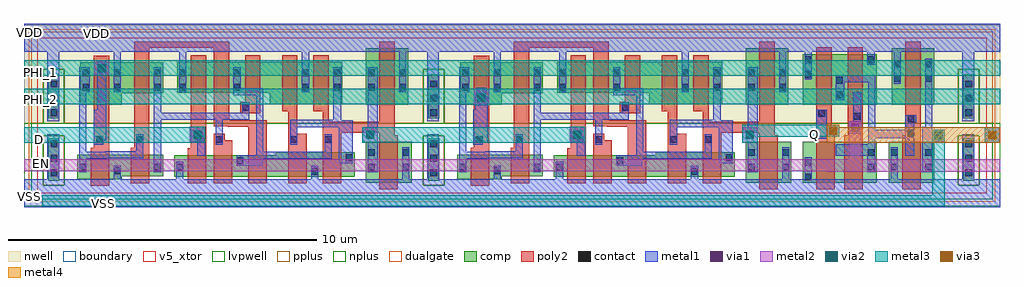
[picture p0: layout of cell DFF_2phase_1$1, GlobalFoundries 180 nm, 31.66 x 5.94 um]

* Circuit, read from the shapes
.subckt DFF_2phase_1$1 D EN PHI_1 PHI_2 Q VDD VSS gated_control
XM1 VSS PHI_1 n1 VSS nfet_05v0 w=0.79u l=0.6u
XM2 n2 n1 VSS VSS nfet_05v0 w=0.7u l=0.6u
XM3 n3 D VSS VSS nfet_05v0 w=0.7u l=0.6u
XM4 n4 n2 n3 VSS nfet_05v0 w=0.7u l=0.6u
XM5 n5 n1 n4 VSS nfet_05v0 w=0.7u l=0.6u
XM6 VSS n6 n5 VSS nfet_05v0 w=0.79u l=0.6u
XM7 n6 n4 VSS VSS nfet_05v0 w=0.79u l=0.6u
XM8 VSS n4 gf180mcu_fd_sc_mcu9t5v0__latq_1_17/D VSS nfet_05v0 w=1.32u l=0.6u
XM9 VSS PHI_2 n7 VSS nfet_05v0 w=0.79u l=0.6u
XM10 n8 n7 VSS VSS nfet_05v0 w=0.7u l=0.6u
XM11 n9 gf180mcu_fd_sc_mcu9t5v0__latq_1_17/D VSS VSS nfet_05v0 w=0.7u l=0.6u
XM12 n10 n8 n9 VSS nfet_05v0 w=0.7u l=0.6u
XM13 n11 n7 n10 VSS nfet_05v0 w=0.7u l=0.6u
XM14 VSS n12 n11 VSS nfet_05v0 w=0.79u l=0.6u
XM15 n12 n10 VSS VSS nfet_05v0 w=0.79u l=0.6u
XM16 VSS n10 Q VSS nfet_05v0 w=1.32u l=0.6u
XM17 n13 Q VSS VSS nfet_05v0 w=1.32u l=0.6u
XM18 gf180mcu_fd_sc_mcu9t5v0__inv_1_15/I EN n13 VSS nfet_05v0 w=1.32u l=0.6u
XM19 gated_control gf180mcu_fd_sc_mcu9t5v0__inv_1_15/I VSS VSS nfet_05v0 w=1.32u l=0.6u
XM20 VDD PHI_1 n1 VDD pfet_05v0 w=1.38u l=0.5u
XM21 n2 n1 VDD VDD pfet_05v0 w=1u l=0.5u
XM22 n14 D VDD VDD pfet_05v0 w=1u l=0.5u
XM23 n4 n1 n14 VDD pfet_05v0 w=1u l=0.5u
XM24 n15 n2 n4 VDD pfet_05v0 w=1u l=0.5u
XM25 VDD n6 n15 VDD pfet_05v0 w=1.38u l=0.5u
XM26 n6 n4 VDD VDD pfet_05v0 w=1.38u l=0.5u
XM27 VDD n4 gf180mcu_fd_sc_mcu9t5v0__latq_1_17/D VDD pfet_05v0 w=1.83u l=0.5u
XM28 VDD PHI_2 n7 VDD pfet_05v0 w=1.38u l=0.5u
XM29 n8 n7 VDD VDD pfet_05v0 w=1u l=0.5u
XM30 n16 gf180mcu_fd_sc_mcu9t5v0__latq_1_17/D VDD VDD pfet_05v0 w=1u l=0.5u
XM31 n10 n7 n16 VDD pfet_05v0 w=1u l=0.5u
XM32 n17 n8 n10 VDD pfet_05v0 w=1u l=0.5u
XM33 VDD n12 n17 VDD pfet_05v0 w=1.38u l=0.5u
XM34 n12 n10 VDD VDD pfet_05v0 w=1.38u l=0.5u
XM35 VDD n10 Q VDD pfet_05v0 w=1.83u l=0.5u
XM36 gf180mcu_fd_sc_mcu9t5v0__inv_1_15/I Q VDD VDD pfet_05v0 w=1.645u l=0.5u
XM37 VDD EN gf180mcu_fd_sc_mcu9t5v0__inv_1_15/I VDD pfet_05v0 w=1.645u l=0.5u
XM38 gated_control gf180mcu_fd_sc_mcu9t5v0__inv_1_15/I VDD VDD pfet_05v0 w=1.83u l=0.5u
.ends

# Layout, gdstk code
import gdstk
lib = gdstk.Library(unit=1e-6, precision=1e-09)
def R(c, l, rs):  # rectangles x0, y0, x1, y1
    for r in rs: c.add(gdstk.rectangle(r[:2], r[2:], *l))
def A(c, l, x, y, w, h, nx, ny, dx, dy):  # array of equal rectangles
    R(c, l, [(x+i*dx, y+j*dy, x+i*dx+w, y+j*dy+h) for i in range(nx) for j in range(ny)])
def P(c, l, *ps):  # polygons
    for p in ps: c.add(gdstk.Polygon(p, *l))
boundary = (0, 0)
nwell = (21, 0)
comp = (22, 0)
poly2 = (30, 0)
pplus = (31, 0)
nplus = (32, 0)
contact = (33, 0)
metal1 = (34, 0)
via1 = (35, 0)
metal2 = (36, 0)
via2 = (38, 0)
via3 = (40, 0)
metal3 = (42, 0)
metal4 = (46, 0)
dualgate = (55, 0)
v5_xtor = (112, 1)
lvpwell = (204, 0)

gf180mcu_fd_sc_mcu9t5v0_ = lib.new_cell('gf180mcu_fd_sc_mcu9t5v0__filltie')
R(gf180mcu_fd_sc_mcu9t5v0_, boundary, [(0,0,1.12,5.04)])
R(gf180mcu_fd_sc_mcu9t5v0_, nwell, [(-0.43,2.265,1.55,5.47)])
R(gf180mcu_fd_sc_mcu9t5v0_, comp, [(0.36,0.41,0.72,1.785), (0.36,2.425,0.72,3.855)])
R(gf180mcu_fd_sc_mcu9t5v0_, pplus, [(0.2,0.25,0.88,1.865)])
P(gf180mcu_fd_sc_mcu9t5v0_, pplus, [(-0.2,2.265),(-0.2,5.24),(1.32,5.24),(1.32,2.265),(0.88,2.265),(0.88,4.015),(0.2,4.015),(0.2,2.265)])
P(gf180mcu_fd_sc_mcu9t5v0_, nplus, [(-0.2,-0.2),(-0.2,2.265),(0.2,2.265),(0.2,4.015),(0.88,4.015),(0.88,1.865),(0.2,1.865),(0.2,0.25),(0.88,0.25),(0.88,4.015),(0.88,2.265),(1.32,2.265),(1.32,-0.2)])
A(gf180mcu_fd_sc_mcu9t5v0_, contact, 0.43, 0.555, 0.22, 0.22, 1, 3, 0, 0.47)
A(gf180mcu_fd_sc_mcu9t5v0_, contact, 0.43, 2.495, 0.22, 0.22, 1, 3, 0, 0.47)
P(gf180mcu_fd_sc_mcu9t5v0_, metal1, [(0,-0.45),(0,0.45),(0.33,0.45),(0.33,1.91),(0.71,1.91),(0.71,0.45),(1.12,0.45),(1.12,-0.45)],
  [(0.33,2.34),(0.33,4.59),(0,4.59),(0,5.49),(1.12,5.49),(1.12,4.59),(0.71,4.59),(0.71,2.34)])
R(gf180mcu_fd_sc_mcu9t5v0_, dualgate, [(-0.28,-0.28,1.4,5.32)])
R(gf180mcu_fd_sc_mcu9t5v0_, v5_xtor, [(0,0,1.12,5.04)])
R(gf180mcu_fd_sc_mcu9t5v0_, lvpwell, [(-0.43,-0.43,1.55,2.265)])
gf180mcu_fd_sc_mcu9t5v0_.add(gdstk.Label('VSS', (0.56,-0.45), layer=34, texttype=10))
gf180mcu_fd_sc_mcu9t5v0_.add(gdstk.Label('VDD', (0.56,5.49), layer=34, texttype=10))
gf180mcu_fd_sc_mcu9t5v0_.add(gdstk.Label('& Vendor GLOBALFOUNDRIES', (0,2), layer=63, texttype=63))
gf180mcu_fd_sc_mcu9t5v0_.add(gdstk.Label('& Product GF018hv5v_green_sc9', (0,1.5), layer=63, texttype=63))
gf180mcu_fd_sc_mcu9t5v0_.add(gdstk.Label('& Version 2015q2v2', (0,1), layer=63, texttype=63))
gf180mcu_fd_sc_mcu9t5v0_.add(gdstk.Label('& Metric 1.00', (0,0.5), layer=63, texttype=63))

c_gf180mcu_fd_sc_mcu9t5v0_ = lib.new_cell('gf180mcu_fd_sc_mcu9t5v0__latq_1')
R(c_gf180mcu_fd_sc_mcu9t5v0_, boundary, [(0,0,11.2,5.04)])
R(c_gf180mcu_fd_sc_mcu9t5v0_, nwell, [(-0.43,2.265,11.63,5.47)])
R(c_gf180mcu_fd_sc_mcu9t5v0_, comp, [(9.54,0.345,11.02,1.665), (9.54,2.865,10.92,4.695)])
P(c_gf180mcu_fd_sc_mcu9t5v0_, comp, [(0.18,0.46),(0.18,1.25),(2.96,1.25),(2.96,0.55),(1.62,0.55),(1.62,0.46)],
  [(0.28,2.865),(0.28,4.245),(2.96,4.245),(2.96,3.245),(1.62,3.245),(1.62,2.865)],
  [(6.42,2.88),(6.42,3.26),(3.42,3.26),(3.42,4.26),(8.78,4.26),(8.78,2.88)],
  [(3.32,0.535),(3.32,1.235),(6.62,1.235),(6.62,1.325),(9.18,1.325),(9.18,0.535)])
P(c_gf180mcu_fd_sc_mcu9t5v0_, poly2, [(0.62,0.24),(0.62,1.47),(0.72,1.47),(0.72,4.465),(1.22,4.465),(1.22,0.24)],
  [(3.76,0.315),(3.76,1.455),(3.86,1.455),(3.86,4.48),(4.36,4.48),(4.36,0.315)],
  [(4.6,0.315),(4.6,1.925),(4.96,1.925),(4.96,1.715),(5.2,1.715),(5.2,0.315)],
  [(5.46,2.6),(5.46,2.96),(5.62,2.96),(5.62,4.48),(6.12,4.48),(6.12,3.04),(6.115,3.04),(6.115,2.6)],
  [(5.72,0.315),(5.72,2.16),(5.055,2.16),(5.055,2.165),(4.6,2.165),(4.6,4.72),(2.52,4.72),(2.52,0.33),(1.92,0.33),(1.92,1.47),(2.02,1.47),(2.02,4.92),(5.1,4.92),(5.1,2.36),(6.32,2.36),(6.32,0.315)],
  [(7.02,0.315),(7.02,2.66),(6.82,2.66),(6.82,4.48),(7.32,4.48),(7.32,1.925),(7.62,1.925),(7.62,0.315)],
  [(9.98,0.125),(9.98,1.965),(8.74,1.965),(8.74,0.315),(8.14,0.315),(8.14,2.66),(7.84,2.66),(7.84,4.48),(8.34,4.48),(8.34,2.325),(9.98,2.325),(9.98,4.915),(10.48,4.915),(10.48,1.885),(10.58,1.885),(10.58,0.125)])
R(c_gf180mcu_fd_sc_mcu9t5v0_, pplus, [(-0.2,2.265,11.4,5.24)])
R(c_gf180mcu_fd_sc_mcu9t5v0_, nplus, [(-0.2,-0.2,11.4,2.265)])
R(c_gf180mcu_fd_sc_mcu9t5v0_, contact, [(7.77,0.605,7.99,0.825), (1.37,0.615,1.59,0.835), (0.25,0.74,0.47,0.96), (2.67,0.74,2.89,0.96), (3.39,0.74,3.61,0.96), (9.61,0.74,9.83,0.96), (10.73,0.74,10.95,0.96), (5.35,0.945,5.57,1.165), (8.89,1.035,9.11,1.255), (9.61,1.21,9.83,1.43), (10.73,1.21,10.95,1.43), (0.79,1.635,1.01,1.855), (2.09,1.635,2.31,1.855), (4.07,1.635,4.29,1.855), (4.67,1.635,4.89,1.855), (7.09,1.635,7.31,1.855), (8.21,1.635,8.43,1.855), (5.53,2.67,5.75,2.89), (0.35,3.33,0.57,3.55), (1.37,3.33,1.59,3.55), (2.67,3.33,2.89,3.55), (3.49,3.33,3.71,3.55), (5.25,3.33,5.47,3.55), (7.47,3.33,7.69,3.55), (8.49,3.33,8.71,3.55), (9.61,3.33,9.83,3.55), (10.63,3.33,10.85,3.55), (0.35,3.8,0.57,4.02), (1.37,3.8,1.59,4.02), (2.67,3.8,2.89,4.02), (3.49,3.8,3.71,4.02), (5.25,3.8,5.47,4.02), (7.47,3.8,7.69,4.02), (8.49,3.8,8.71,4.02), (9.61,3.8,9.83,4.02), (10.63,3.8,10.85,4.02)])
R(c_gf180mcu_fd_sc_mcu9t5v0_, metal1, [(9.605,0.68,9.93,4.08), (4.065,1.21,4.33,2.15), (0.71,1.575,1.015,2.71)])
P(c_gf180mcu_fd_sc_mcu9t5v0_, metal1, [(0.245,0.68),(0.245,4.08),(0.575,4.08),(0.575,3.27),(0.475,3.27),(0.475,1.345),(1.085,1.345),(1.085,1.355),(2.085,1.355),(2.085,1.915),(2.315,1.915),(2.315,1.125),(1.155,1.125),(1.155,1.115),(0.475,1.115),(0.475,0.68)],
  [(2.665,0.68),(2.665,4.08),(2.895,4.08),(2.895,2.61),(5.525,2.61),(5.525,2.95),(5.755,2.95),(5.755,2.38),(4.895,2.38),(4.895,1.575),(4.665,1.575),(4.665,2.38),(2.895,2.38),(2.895,0.68)],
  [(5.345,0.885),(5.345,1.225),(5.985,1.225),(5.985,3.18),(5.245,3.18),(5.245,4.08),(5.475,4.08),(5.475,3.41),(6.215,3.41),(6.215,1.345),(8.205,1.345),(8.205,1.915),(8.435,1.915),(8.435,1.115),(6.19,1.115),(6.19,0.885)],
  [(8.665,0.975),(8.665,2.145),(7.315,2.145),(7.315,1.575),(7.085,1.575),(7.085,2.375),(8.485,2.375),(8.485,4.08),(8.735,4.08),(8.735,2.365),(9.115,2.365),(9.115,0.975)],
  [(0,-0.45),(0,0.45),(1.365,0.45),(1.365,0.895),(1.595,0.895),(1.595,0.45),(3.385,0.45),(3.385,1.02),(3.615,1.02),(3.615,0.45),(7.765,0.45),(7.765,0.885),(7.995,0.885),(7.995,0.45),(10.725,0.45),(10.725,1.49),(10.955,1.49),(10.955,0.45),(11.2,0.45),(11.2,-0.45)],
  [(1.365,3.27),(1.365,4.59),(0,4.59),(0,5.49),(11.2,5.49),(11.2,4.59),(10.855,4.59),(10.855,3.27),(10.625,3.27),(10.625,4.59),(7.695,4.59),(7.695,3.27),(7.465,3.27),(7.465,4.59),(3.715,4.59),(3.715,3.27),(3.485,3.27),(3.485,4.59),(1.595,4.59),(1.595,3.27)])
R(c_gf180mcu_fd_sc_mcu9t5v0_, dualgate, [(-0.28,-0.28,11.48,5.32)])
R(c_gf180mcu_fd_sc_mcu9t5v0_, v5_xtor, [(0,0,11.2,5.04)])
R(c_gf180mcu_fd_sc_mcu9t5v0_, lvpwell, [(-0.43,-0.43,11.63,2.265)])
c_gf180mcu_fd_sc_mcu9t5v0_.add(gdstk.Label('D', (4.2,1.4), layer=34, texttype=10))
c_gf180mcu_fd_sc_mcu9t5v0_.add(gdstk.Label('E', (0.84,1.96), layer=34, texttype=10))
c_gf180mcu_fd_sc_mcu9t5v0_.add(gdstk.Label('Q', (9.8,2.52), layer=34, texttype=10))
c_gf180mcu_fd_sc_mcu9t5v0_.add(gdstk.Label('VDD', (5.6,5.49), layer=34, texttype=10))
c_gf180mcu_fd_sc_mcu9t5v0_.add(gdstk.Label('VSS', (5.6,-0.45), layer=34, texttype=10))
c_gf180mcu_fd_sc_mcu9t5v0_.add(gdstk.Label('& Vendor GLOBALFOUNDRIES', (0,2), layer=63, texttype=63))
c_gf180mcu_fd_sc_mcu9t5v0_.add(gdstk.Label('& Product GF018hv5v_green_sc9', (0,1.5), layer=63, texttype=63))
c_gf180mcu_fd_sc_mcu9t5v0_.add(gdstk.Label('& Version 2015q2v2', (0,1), layer=63, texttype=63))
c_gf180mcu_fd_sc_mcu9t5v0_.add(gdstk.Label('& Metric 1.00', (0,0.5), layer=63, texttype=63))
c_gf180mcu_fd_sc_mcu9t5v0_.add(gdstk.Label('VNW', (0.345,3.92), layer=21, texttype=10))
c_gf180mcu_fd_sc_mcu9t5v0_.add(gdstk.Label('VPW', (0.34,-0.085), layer=204, texttype=10))

via_dev = lib.new_cell('via_dev')
R(via_dev, metal1, [(0,0,0.5,0.5)])
R(via_dev, via1, [(0.12,0.12,0.38,0.38)])
R(via_dev, metal2, [(0,0,0.5,0.5)])

via_dev_1 = lib.new_cell('via_dev$1')
R(via_dev_1, metal2, [(0,0,0.5,0.5)])
R(via_dev_1, via2, [(0.12,0.12,0.38,0.38)])
R(via_dev_1, metal3, [(0,0,0.5,0.5)])

c_gf180mcu_fd_sc_mcu9t5v0__ = lib.new_cell('gf180mcu_fd_sc_mcu9t5v0__nand2_1')
R(c_gf180mcu_fd_sc_mcu9t5v0__, boundary, [(0,0,2.8,5.04)])
R(c_gf180mcu_fd_sc_mcu9t5v0__, nwell, [(-0.43,2.265,3.23,5.47)])
R(c_gf180mcu_fd_sc_mcu9t5v0__, comp, [(0.185,0.345,2.585,1.665), (0.185,2.865,2.585,4.51)])
P(c_gf180mcu_fd_sc_mcu9t5v0__, poly2, [(0.625,0.125),(0.625,4.73),(1.125,4.73),(1.125,1.885),(1.225,1.885),(1.225,0.125)],
  [(1.545,0.125),(1.545,1.885),(1.645,1.885),(1.645,4.73),(2.145,4.73),(2.145,0.125)])
R(c_gf180mcu_fd_sc_mcu9t5v0__, pplus, [(-0.2,2.265,3,5.24)])
R(c_gf180mcu_fd_sc_mcu9t5v0__, nplus, [(-0.2,-0.2,3,2.265)])
R(c_gf180mcu_fd_sc_mcu9t5v0__, contact, [(0.255,0.415,0.475,0.635), (2.295,0.74,2.515,0.96), (0.255,0.885,0.475,1.105), (2.295,1.21,2.515,1.43), (1.835,2.39,2.055,2.61), (0.695,2.475,0.915,2.695), (1.275,3.08,1.495,3.3), (1.275,3.55,1.495,3.77), (0.255,3.75,0.475,3.97), (0.255,4.22,0.475,4.44), (2.295,4.22,2.515,4.44)])
R(c_gf180mcu_fd_sc_mcu9t5v0__, metal1, [(0.635,1.77,0.975,2.71), (1.83,2.33,2.09,3.27)])
P(c_gf180mcu_fd_sc_mcu9t5v0__, metal1, [(2.29,0.68),(2.29,1.21),(1.27,1.21),(1.27,1.59),(2.32,1.59),(2.32,3.6),(1.53,3.6),(1.53,3.02),(1.27,3.02),(1.27,3.83),(2.55,3.83),(2.55,0.68)],
  [(0,-0.45),(0,0.45),(0.25,0.45),(0.25,1.165),(0.48,1.165),(0.48,0.45),(2.8,0.45),(2.8,-0.45)],
  [(0.25,3.69),(0.25,4.59),(0,4.59),(0,5.49),(2.8,5.49),(2.8,4.59),(2.52,4.59),(2.52,4.16),(2.29,4.16),(2.29,4.59),(0.48,4.59),(0.48,3.69)])
R(c_gf180mcu_fd_sc_mcu9t5v0__, dualgate, [(-0.28,-0.28,3.08,5.32)])
R(c_gf180mcu_fd_sc_mcu9t5v0__, v5_xtor, [(0,0,2.8,5.04)])
R(c_gf180mcu_fd_sc_mcu9t5v0__, lvpwell, [(-0.43,-0.43,3.23,2.265)])
c_gf180mcu_fd_sc_mcu9t5v0__.add(gdstk.Label('A1', (1.96,2.52), layer=34, texttype=10))
c_gf180mcu_fd_sc_mcu9t5v0__.add(gdstk.Label('A2', (0.84,1.96), layer=34, texttype=10))
c_gf180mcu_fd_sc_mcu9t5v0__.add(gdstk.Label('VDD', (1.4,5.49), layer=34, texttype=10))
c_gf180mcu_fd_sc_mcu9t5v0__.add(gdstk.Label('VSS', (1.4,-0.45), layer=34, texttype=10))
c_gf180mcu_fd_sc_mcu9t5v0__.add(gdstk.Label('ZN', (1.96,1.4), layer=34, texttype=10))
c_gf180mcu_fd_sc_mcu9t5v0__.add(gdstk.Label('& Vendor GLOBALFOUNDRIES', (0,2), layer=63, texttype=63))
c_gf180mcu_fd_sc_mcu9t5v0__.add(gdstk.Label('& Product GF018hv5v_green_sc9', (0,1.5), layer=63, texttype=63))
c_gf180mcu_fd_sc_mcu9t5v0__.add(gdstk.Label('& Version 2015q2v2', (0,1), layer=63, texttype=63))
c_gf180mcu_fd_sc_mcu9t5v0__.add(gdstk.Label('& Metric 1.00', (0,0.5), layer=63, texttype=63))
c_gf180mcu_fd_sc_mcu9t5v0__.add(gdstk.Label('VNW', (0.345,3.92), layer=21, texttype=10))
c_gf180mcu_fd_sc_mcu9t5v0__.add(gdstk.Label('VPW', (0.34,-0.085), layer=204, texttype=10))

c_gf180mcu_fd_sc_mcu9t5v0___ = lib.new_cell('gf180mcu_fd_sc_mcu9t5v0__inv_1')
R(c_gf180mcu_fd_sc_mcu9t5v0___, boundary, [(0,0,2.24,5.04)])
R(c_gf180mcu_fd_sc_mcu9t5v0___, nwell, [(-0.43,2.265,2.67,5.47)])
R(c_gf180mcu_fd_sc_mcu9t5v0___, comp, [(0.18,0.345,1.66,1.665), (0.28,2.865,1.66,4.695)])
P(c_gf180mcu_fd_sc_mcu9t5v0___, poly2, [(0.62,0.125),(0.62,1.885),(0.72,1.885),(0.72,4.915),(1.22,4.915),(1.22,0.125)])
R(c_gf180mcu_fd_sc_mcu9t5v0___, pplus, [(-0.2,2.265,2.44,5.24)])
R(c_gf180mcu_fd_sc_mcu9t5v0___, nplus, [(-0.2,-0.2,2.44,2.265)])
R(c_gf180mcu_fd_sc_mcu9t5v0___, contact, [(0.25,0.74,0.47,0.96), (1.37,0.74,1.59,0.96), (0.25,1.21,0.47,1.43), (1.37,1.21,1.59,1.43), (0.79,1.835,1.01,2.055), (0.79,2.305,1.01,2.525), (0.35,3.61,0.57,3.83), (1.37,3.61,1.59,3.83), (0.35,4.08,0.57,4.3), (1.37,4.08,1.59,4.3)])
P(c_gf180mcu_fd_sc_mcu9t5v0___, metal1, [(0.71,1.21),(0.71,2.53),(1.07,2.53),(1.07,2.3),(1.015,2.3),(1.015,1.21)],
  [(1.27,0.68),(1.27,2.15),(1.365,2.15),(1.365,4.36),(1.595,4.36),(1.595,0.68)],
  [(0,-0.45),(0,0.45),(0.245,0.45),(0.245,1.49),(0.475,1.49),(0.475,0.45),(2.24,0.45),(2.24,-0.45)],
  [(0.345,3.55),(0.345,4.59),(0,4.59),(0,5.49),(2.24,5.49),(2.24,4.59),(0.575,4.59),(0.575,3.55)])
R(c_gf180mcu_fd_sc_mcu9t5v0___, dualgate, [(-0.28,-0.28,2.52,5.32)])
R(c_gf180mcu_fd_sc_mcu9t5v0___, v5_xtor, [(0,0,2.24,5.04)])
R(c_gf180mcu_fd_sc_mcu9t5v0___, lvpwell, [(-0.43,-0.43,2.67,2.265)])
c_gf180mcu_fd_sc_mcu9t5v0___.add(gdstk.Label('I', (0.84,1.96), layer=34, texttype=10))
c_gf180mcu_fd_sc_mcu9t5v0___.add(gdstk.Label('VDD', (1.12,5.49), layer=34, texttype=10))
c_gf180mcu_fd_sc_mcu9t5v0___.add(gdstk.Label('VSS', (1.12,-0.45), layer=34, texttype=10))
c_gf180mcu_fd_sc_mcu9t5v0___.add(gdstk.Label('ZN', (1.4,1.96), layer=34, texttype=10))
c_gf180mcu_fd_sc_mcu9t5v0___.add(gdstk.Label('& Vendor GLOBALFOUNDRIES', (0,2), layer=63, texttype=63))
c_gf180mcu_fd_sc_mcu9t5v0___.add(gdstk.Label('& Product GF018hv5v_green_sc9', (0,1.5), layer=63, texttype=63))
c_gf180mcu_fd_sc_mcu9t5v0___.add(gdstk.Label('& Version 2015q2v2', (0,1), layer=63, texttype=63))
c_gf180mcu_fd_sc_mcu9t5v0___.add(gdstk.Label('& Metric 1.00', (0,0.5), layer=63, texttype=63))
c_gf180mcu_fd_sc_mcu9t5v0___.add(gdstk.Label('VNW', (0.345,3.92), layer=21, texttype=10))
c_gf180mcu_fd_sc_mcu9t5v0___.add(gdstk.Label('VPW', (0.34,-0.085), layer=204, texttype=10))

via_dev_2 = lib.new_cell('via_dev$2')
R(via_dev_2, metal1, [(0,0,0.4,0.4)])
R(via_dev_2, via1, [(0.07,0.07,0.33,0.33)])
R(via_dev_2, metal2, [(0,0,0.4,0.4)])

via_dev_3 = lib.new_cell('via_dev$3')
R(via_dev_3, metal1, [(0,0,0.4,0.4)])
R(via_dev_3, via1, [(0.07,0.07,0.33,0.33)])
R(via_dev_3, metal2, [(0,0,0.4,0.4)])
R(via_dev_3, via2, [(0.07,0.07,0.33,0.33)])
R(via_dev_3, metal3, [(0,0,0.4,0.4)])

via_dev_4 = lib.new_cell('via_dev$4')
R(via_dev_4, metal1, [(0,0,0.4,0.4)])
R(via_dev_4, via1, [(0.07,0.07,0.33,0.33)])
R(via_dev_4, metal2, [(0,0,0.4,0.4)])
R(via_dev_4, via2, [(0.07,0.07,0.33,0.33)])
R(via_dev_4, via3, [(0.07,0.07,0.33,0.33)])
R(via_dev_4, metal3, [(0,0,0.4,0.4)])
R(via_dev_4, metal4, [(0,0,0.4,0.4)])

via_dev_5 = lib.new_cell('via_dev$5')
R(via_dev_5, metal1, [(0,0,0.5,0.5)])
R(via_dev_5, via1, [(0.12,0.12,0.38,0.38)])
R(via_dev_5, metal2, [(0,0,0.5,0.5)])
R(via_dev_5, via2, [(0.12,0.12,0.38,0.38)])
R(via_dev_5, via3, [(0.12,0.12,0.38,0.38)])
R(via_dev_5, metal3, [(0,0,0.5,0.5)])
R(via_dev_5, metal4, [(0,0,0.5,0.5)])

dff_2phase_1_1 = lib.new_cell('DFF_2phase_1$1')
R(dff_2phase_1_1, metal1, [(-15.83,-2.97,15.83,-2.07), (-13.46,-0.82,-13.155,1.79), (11.79,-0.73,12.75,-0.465), (-13.46,1.29,-13.16,1.79), (-15.83,2.07,15.83,2.97)])
P(dff_2phase_1_1, metal1, [(-1.17,-0.885),(-1.17,0),(-1.19,0),(-1.19,0.615),(-1.155,0.615),(-1.155,0.9),(-0.84,0.9),(-0.84,0.615),(-0.79,0.615),(-0.79,-0.885)])
R(dff_2phase_1_1, via1, [(-1.12,0.45,-0.86,0.71), (-13.44,1.41,-13.18,1.67)])
R(dff_2phase_1_1, metal2, [(-1.24,0.37,-0.84,0.87), (-13.51,1.29,-13.11,1.79)])
P(dff_2phase_1_1, metal2, [(10.21,-1.82),(10.21,-1.815),(-15.83,-1.815),(-15.83,-1.42),(10.93,-1.42),(10.93,-0.59),(11.33,-0.59),(11.33,-1.42),(15.83,-1.42),(15.83,-1.82)])
R(dff_2phase_1_1, metal3, [(-15.83,-0.88,-9.95,-0.38), (-4.85,-0.88,2.37,-0.38), (7.47,-0.695,10.615,-0.295), (-15.83,0.37,15.83,0.87), (-15.83,1.29,15.83,1.79)])
P(dff_2phase_1_1, metal3, [(-15.24,-2.95),(-15.24,-2.59),(13.635,-2.59),(13.635,-0.855),(14.035,-0.855),(14.035,-2.95)])
P(dff_2phase_1_1, metal4, [(10.215,-0.885),(10.215,-0.385),(15.83,-0.385),(15.83,-0.88),(11.225,-0.88),(11.225,-0.885)])
dff_2phase_1_1.add(gdstk.Reference(gf180mcu_fd_sc_mcu9t5v0_, (-15.4,-2.52)))
dff_2phase_1_1.add(gdstk.Reference(gf180mcu_fd_sc_mcu9t5v0_, (-3.08,-2.52)))
dff_2phase_1_1.add(gdstk.Reference(c_gf180mcu_fd_sc_mcu9t5v0_, (-14.28,-2.52)))
dff_2phase_1_1.add(gdstk.Reference(gf180mcu_fd_sc_mcu9t5v0_, (14.28,-2.52)))
dff_2phase_1_1.add(gdstk.Reference(via_dev, (-4.85,-0.88)))
dff_2phase_1_1.add(gdstk.Reference(via_dev_1, (-4.85,-0.88)))
dff_2phase_1_1.add(gdstk.Reference(via_dev, (1.87,-0.87)))
dff_2phase_1_1.add(gdstk.Reference(via_dev_1, (1.87,-0.87)))
dff_2phase_1_1.add(gdstk.Reference(via_dev, (-10.45,-0.87)))
dff_2phase_1_1.add(gdstk.Reference(via_dev_1, (-10.45,-0.87)))
dff_2phase_1_1.add(gdstk.Reference(via_dev, (7.47,-0.88)))
dff_2phase_1_1.add(gdstk.Reference(via_dev_1, (7.47,-0.88)))
dff_2phase_1_1.add(gdstk.Reference(via_dev_1, (-1.24,0.33)))
dff_2phase_1_1.add(gdstk.Reference(via_dev_1, (-13.56,1.29)))
dff_2phase_1_1.add(gdstk.Reference(c_gf180mcu_fd_sc_mcu9t5v0__, (9.24,-2.52)))
dff_2phase_1_1.add(gdstk.Reference(c_gf180mcu_fd_sc_mcu9t5v0___, (12.04,-2.52)))
dff_2phase_1_1.add(gdstk.Reference(via_dev_2, (10.93,-0.59)))
dff_2phase_1_1.add(gdstk.Reference(c_gf180mcu_fd_sc_mcu9t5v0_, (-1.96,-2.52)))
dff_2phase_1_1.add(gdstk.Reference(via_dev_3, (13.635,-0.855)))
dff_2phase_1_1.add(gdstk.Reference(via_dev_4, (10.215,-0.695)))
dff_2phase_1_1.add(gdstk.Reference(via_dev_5, (15.33,-0.885)))
dff_2phase_1_1.add(gdstk.Label('VDD', (-15.65,2.68), layer=34, texttype=10))
dff_2phase_1_1.add(gdstk.Label('VSS', (-15.64,-2.64), layer=34, texttype=10))
dff_2phase_1_1.add(gdstk.Label('VDD', (-13.47,2.65), layer=34, texttype=10))
dff_2phase_1_1.add(gdstk.Label('VSS', (-13.24,-2.85), layer=34, texttype=10))
dff_2phase_1_1.add(gdstk.Label('Q', (9.805,-0.61), layer=42, texttype=10))
dff_2phase_1_1.add(gdstk.Label('gated_control', (-15.12,-2.78), layer=42, texttype=10))
dff_2phase_1_1.add(gdstk.Label('PHI_1', (-15.3,1.39), layer=42, texttype=10))
dff_2phase_1_1.add(gdstk.Label('PHI_2', (-15.3,0.52), layer=42, texttype=10))
dff_2phase_1_1.add(gdstk.Label('D', (-15.32,-0.77), layer=42, texttype=10))
dff_2phase_1_1.add(gdstk.Label('EN', (-15.275,-1.56), layer=36, texttype=10))

lib.write_gds('DFF_2phase_1_1.gds')
